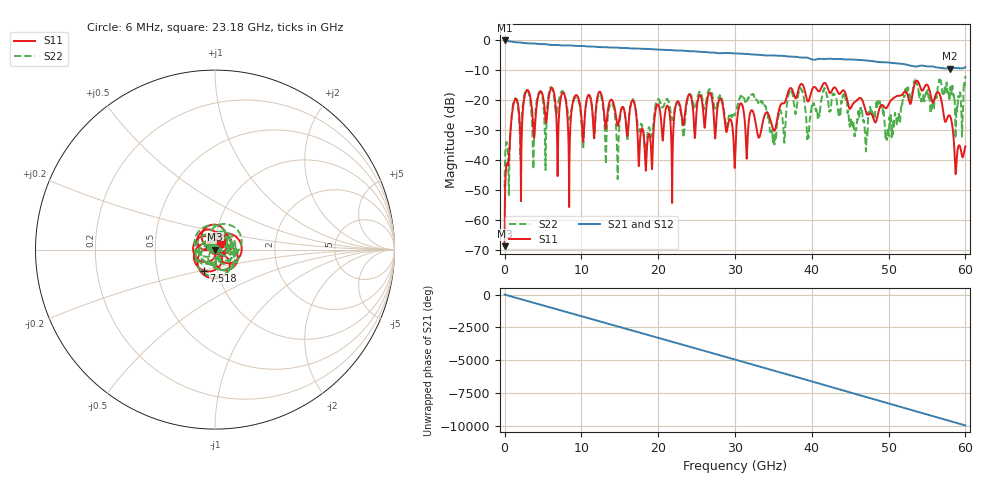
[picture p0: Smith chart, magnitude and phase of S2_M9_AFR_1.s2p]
!Agilent Technologies,N5224A,MY56041957,A.10.60.03
!Automatic Fixture Removal (AFR)
!Date: Friday, September 15, 2017 10:01:53 AM
!S2P File: Measurements: S11,S21,S12,S22:
# MHz S  RI  R 50
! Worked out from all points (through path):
!   10000 points, 6 MHz to 60 GHz, reference 50 ohm
!   highest |S21| = -0.02 dB at 6 MHz (marker M1); lowest = -9.4 dB at 57.98 GHz (marker M2)
!   group delay of S21, straight-line fit = 461 ps
!   lowest |S11| = -68.6 dB at 6 MHz (marker M3), VSWR 1.00, Z = 50 + j0.0336 ohm
!   |S11| at or under -10 dB: start of sweep to end of sweep
!   |S22| runs from -51.6 to -11.9 dB; largest |S21 - S12| = 1.4e-15
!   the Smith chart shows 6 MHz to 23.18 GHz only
!   S11 on the Smith chart (normalised r, x): 6 MHz: 1.00, +0.00; 7.518 GHz: 0.86, -0.21; 23.18 GHz: 1.05, +0.07
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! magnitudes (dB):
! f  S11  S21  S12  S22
! 6 MHz  -68.6  0.0  0.0  -49.0
! 1.338 GHz  -19.8  -0.6  -0.6  -19.4
! 3.756 GHz  -29.7  -1.0  -1.0  -42.7
! 7.518 GHz  -17.6  -1.7  -1.7  -17.0
! 8.388 GHz  -46.4  -1.7  -1.7  -26.2
! 10.01 GHz  -25.5  -1.8  -1.8  -26.9
! 12.41 GHz  -17.1  -2.3  -2.3  -17.9
! 14.74 GHz  -28.5  -2.4  -2.4  -45.0
! 16.72 GHz  -20.0  -2.7  -2.7  -19.7
! 18.43 GHz  -42.1  -2.8  -2.8  -37.8
! 20 GHz  -21.4  -3.1  -3.1  -19.6
! 23.18 GHz  -27.5  -3.4  -3.4  -29.7
! 26.74 GHz  -17.4  -4.0  -4.0  -16.4
! 30.01 GHz  -40.4  -4.3  -4.3  -24.6
! 30.74 GHz  -21.0  -4.4  -4.4  -18.5
! 35.1 GHz  -30.1  -5.0  -5.0  -33.7
! 37.19 GHz  -15.9  -5.4  -5.4  -17.2
! 40 GHz  -16.7  -6.4  -6.4  -22.1
! 50 GHz  -21.3  -7.4  -7.4  -31.5
! 53.47 GHz  -14.0  -8.7  -8.7  -13.1
! 57.98 GHz  -25.2  -9.4  -9.4  -17.9
! 60 GHz  -35.3  -8.9  -8.9  -11.9
